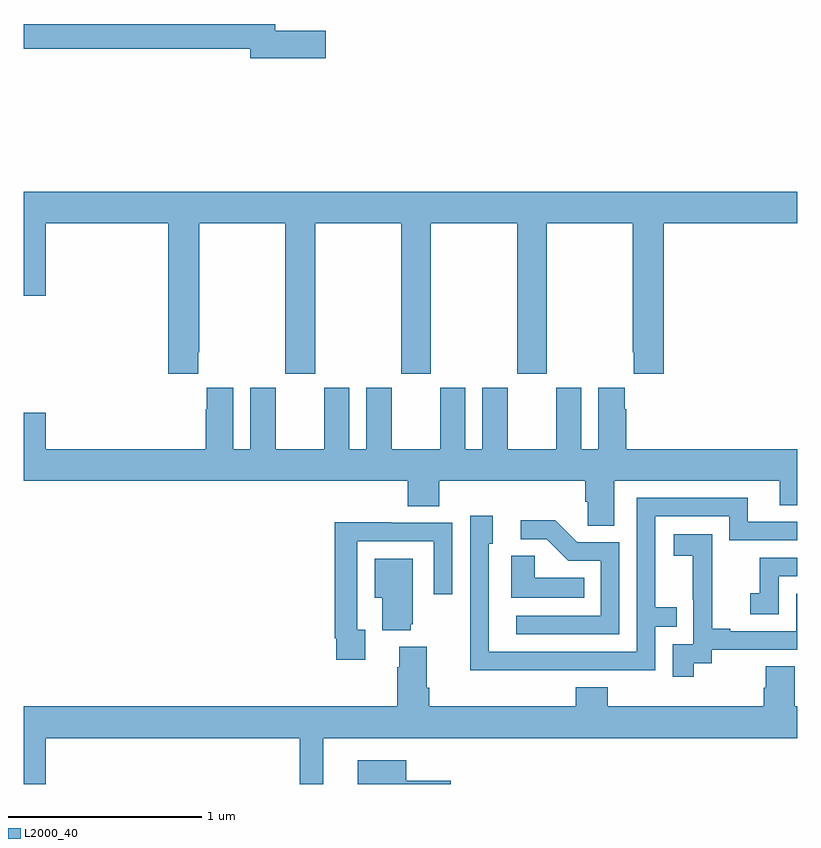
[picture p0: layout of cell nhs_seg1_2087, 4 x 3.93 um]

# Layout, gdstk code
import gdstk
lib = gdstk.Library(unit=1e-6, precision=1e-09)
def P(c, l, *ps):  # polygons
    for p in ps: c.add(gdstk.Polygon(p, *l))
L2000_40 = (2000, 40)

nhs_seg1_2087 = lib.new_cell('nhs_seg1_2087')
P(nhs_seg1_2087, L2000_40, [(226.561,518.097),(226.3,518.097),(226.3,518.131),(225,518.131),(225,518.002),(226.172,518.002),(226.172,517.955),(226.561,517.955)],
  [(225.901,516.433),(225.906,516.433),(225.906,517.1),(226.351,517.1),(226.351,516.321),(226.506,516.321),(226.506,517.1),(226.951,517.1),(226.951,516.321),(227.106,516.321),(227.106,517.1),(227.551,517.1),(227.551,516.321),(227.706,516.321),(227.706,517.1),(228.151,517.1),(228.151,516.433),(228.155,516.433),(228.155,516.321),(228.311,516.321),(228.311,517.1),(229,517.1),(229,517.264),(225,517.264),(225,516.726),(225.112,516.726),(225.112,517.1),(225.746,517.1),(225.746,516.321),(225.901,516.321)],
  [(228.055,515.768),(228.911,515.768),(228.911,515.641),(229,515.641),(229,515.932),(228.116,515.932),(228.116,516.137),(228.109,516.137),(228.109,516.25),(227.972,516.25),(227.972,515.932),(227.884,515.932),(227.884,516.25),(227.753,516.25),(227.753,515.932),(227.503,515.932),(227.503,516.25),(227.372,516.25),(227.372,515.932),(227.284,515.932),(227.284,516.25),(227.153,516.25),(227.153,515.932),(226.903,515.932),(226.903,516.25),(226.772,516.25),(226.772,515.932),(226.684,515.932),(226.684,516.25),(226.553,516.25),(226.553,515.932),(226.303,515.932),(226.303,516.25),(226.172,516.25),(226.172,515.932),(226.084,515.932),(226.084,516.25),(225.947,516.25),(225.947,516.137),(225.941,516.137),(225.941,515.932),(225.112,515.932),(225.112,516.121),(225,516.121),(225,515.768),(226.985,515.768),(226.985,515.635),(227.15,515.635),(227.15,515.768),(227.903,515.768),(227.903,515.659),(227.916,515.659),(227.916,515.536),(228.055,515.536)],
  [(227.771,514.788),(228.267,514.788),(228.267,515.013),(228.377,515.013),(228.377,515.114),(228.267,515.114),(228.267,515.583),(228.648,515.583),(228.648,515.46),(229,515.46),(229,515.556),(228.745,515.556),(228.745,515.679),(228.171,515.679),(228.171,514.884),(227.406,514.884),(227.406,515.442),(227.425,515.442),(227.425,515.587),(227.31,515.587),(227.31,515.093),(227.308,515.093),(227.308,514.787),(227.771,514.787)],
  [(228.081,515.451),(227.862,515.451),(227.749,515.564),(227.571,515.564),(227.571,515.466),(227.705,515.466),(227.816,515.355),(227.985,515.355),(227.985,515.07),(227.547,515.07),(227.547,514.974),(228.081,514.974)],
  [(226.765,514.998),(226.725,514.998),(226.725,515.454),(227.121,515.454),(227.121,515.181),(227.217,515.181),(227.217,515.55),(226.901,515.55),(226.901,515.552),(226.609,515.552),(226.609,514.954),(226.617,514.954),(226.617,514.842),(226.765,514.842)],
  [(228.466,514.825),(228.558,514.825),(228.558,514.893),(229,514.893),(229,515.184),(228.996,515.184),(228.996,514.989),(228.655,514.989),(228.655,515.002),(228.56,515.002),(228.56,515.285),(228.561,515.285),(228.561,515.491),(228.363,515.491),(228.363,515.381),(228.461,515.381),(228.461,515.153),(228.462,515.153),(228.462,514.923),(228.357,514.923),(228.357,514.755),(228.466,514.755)],
  [(227.9,515.266),(227.643,515.266),(227.643,515.381),(227.522,515.381),(227.522,515.162),(227.9,515.162)],
  [(228.906,515.274),(229,515.274),(229,515.37),(228.808,515.37),(228.808,515.185),(228.759,515.185),(228.759,515.076),(228.906,515.076)],
  [(227,515.025),(227.011,515.025),(227.011,515.365),(226.814,515.365),(226.814,515.162),(226.853,515.162),(226.853,514.994),(227,514.994)],
  [(225.112,514.436),(226.428,514.436),(226.428,514.199),(226.549,514.199),(226.549,514.436),(229,514.436),(229,514.6),(228.987,514.6),(228.987,514.808),(228.839,514.808),(228.839,514.698),(228.827,514.698),(228.827,514.6),(228.02,514.6),(228.02,514.699),(227.855,514.699),(227.855,514.6),(227.096,514.6),(227.096,514.696),(227.083,514.696),(227.083,514.909),(226.943,514.909),(226.943,514.802),(226.931,514.802),(226.931,514.6),(225,514.6),(225,514.199),(225.112,514.199)],
  [(227.209,514.216),(226.978,514.216),(226.978,514.321),(226.727,514.321),(226.727,514.199),(227.209,514.199)])

lib.write_gds('nhs_seg1_2087.gds')
